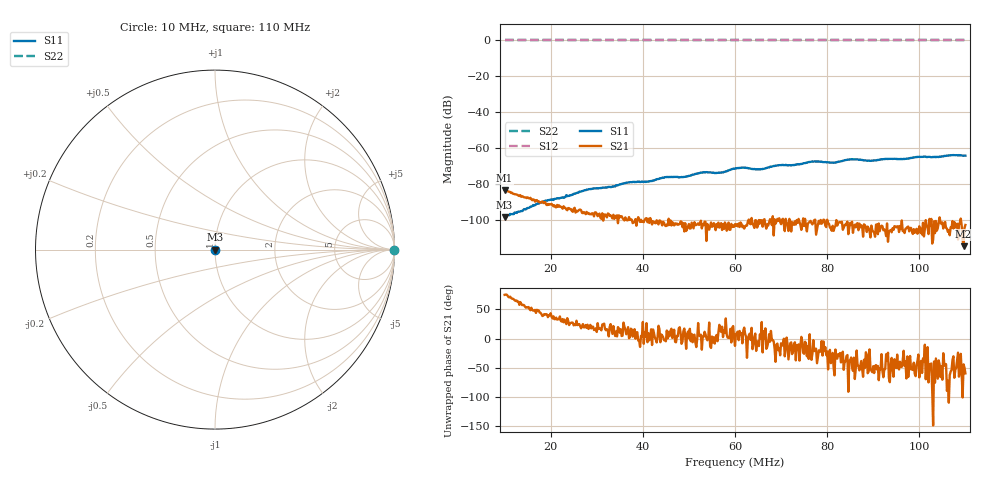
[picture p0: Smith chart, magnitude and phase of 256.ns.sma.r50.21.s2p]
! Anritsu VNA Master:  Model: MS2036C/10/77
! SN:  1601066
! /card0/usr/256.ns.sma.r50.21.s2p
! Existing Calibration Information:
! TYPE:  Current Settings,  Active Cal Settings
! TIME:  12/19/2017 03:49:35 PM,  12/19/2017 03:30:41 PM
! INTERNAL TEMP:  47.3 C,  48.0 C
! # POINTS:  501,  501
! START FREQ:  10.000 MHz,  10.000 MHz
! STOP FREQ:  110.000 MHz,  110.000 MHz
! SOURCE POWER:  High,  High
! IFBW:  100 Hz,  100 Hz
! AVG FACTOR:  1 ,  1
! REF PLANE 1:  0 mm,  0 mm
! REF PLANE 2:  0 mm,  0 mm
! CAL TYPE:  Full S11,  Full S11
! CAL METHOD:  SOLT,  SOLT
! CAL LINE TYPE:  Coax,  Coax
! DUT PORT 1:  N-Conn(F),  N-Conn(F)
! DUT PORT 2:  K-Conn(F),  K-Conn(F)
! CAL STATUS:  OK: Accuracy High,  --
# GHZ S DB R 50.0
! FREQ.GHZ  S11DB  S11A  S21DB  S21A  S12DB  S12A  S22DB  S22A
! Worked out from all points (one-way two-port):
!   501 points, 10 MHz to 110 MHz, reference 50 ohm
!   highest |S21| = -83.21 dB at 10 MHz (marker M1); lowest = -114.3 dB at 109.6 MHz (marker M2)
!   lowest |S11| = -98.1 dB at 10 MHz (marker M3), VSWR 1.00, Z = 50 - j0.00039 ohm
!   |S11| at or under -10 dB: start of sweep to end of sweep
!   |S22| runs from 0.0 to 0.0 dB; largest |S21 - S12| = 1
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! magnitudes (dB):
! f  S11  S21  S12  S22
! 10 MHz  -98.1  -83.2  0.0  0.0
! 26.8 MHz  -83.8  -95.8  0.0  0.0
! 34.8 MHz  -80.2  -97.1  0.0  0.0
! 37 MHz  -78.8  -98.1  0.0  0.0
! 41.4 MHz  -78.3  -101.4  0.0  0.0
! 43.4 MHz  -76.9  -102.2  0.0  0.0
! 45.2 MHz  -75.9  -102.3  0.0  0.0
! 49 MHz  -75.9  -106.1  0.0  0.0
! 53 MHz  -73.3  -102.1  0.0  0.0
! 57 MHz  -73.4  -101.5  0.0  0.0
! 60 MHz  -71.1  -102.0  0.0  0.0
! 61.8 MHz  -70.7  -103.0  0.0  0.0
! 65.4 MHz  -71.7  -101.8  0.0  0.0
! 69.2 MHz  -69.5  -99.1  0.0  0.0
! 72.4 MHz  -69.2  -100.9  0.0  0.0
! 76.8 MHz  -67.2  -102.2  0.0  0.0
! 81.4 MHz  -67.9  -105.8  0.0  0.0
! 85.2 MHz  -66.0  -102.5  0.0  0.0
! 89.2 MHz  -66.8  -106.0  0.0  0.0
! 93.4 MHz  -65.8  -106.3  0.0  0.0
! 109.6 MHz  -64.0  -114.3  0.0  0.0
! 110 MHz  -64.0  -102.5  0.0  0.0
